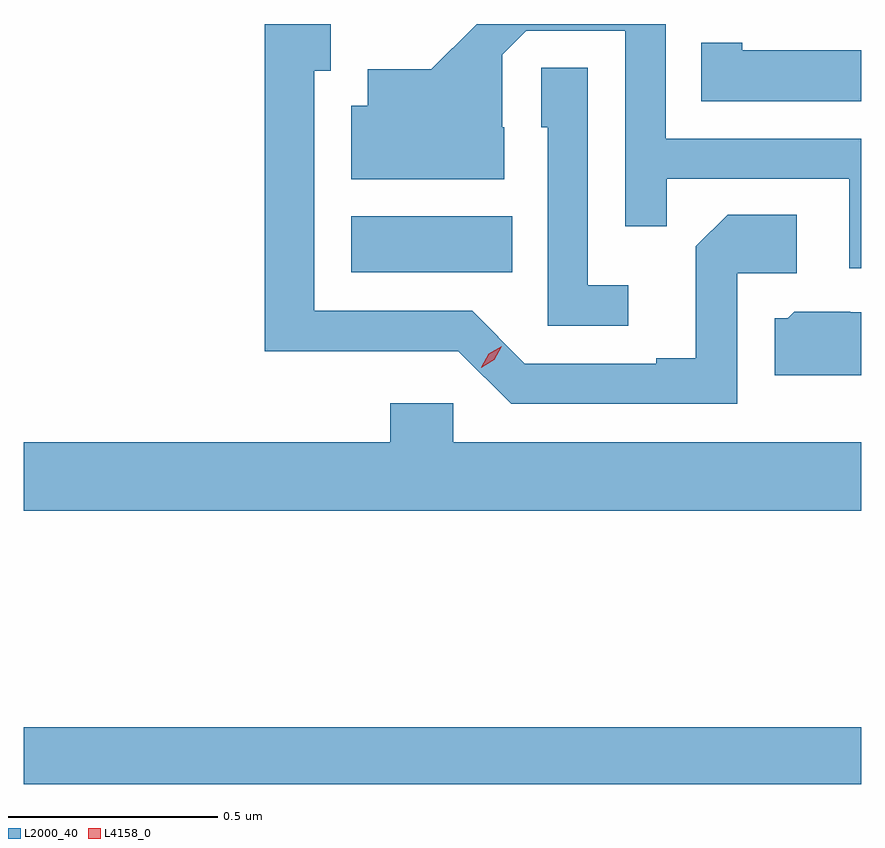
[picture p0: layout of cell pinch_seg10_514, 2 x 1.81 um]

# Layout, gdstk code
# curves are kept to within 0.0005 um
import gdstk
lib = gdstk.Library(unit=1e-6, precision=1e-09)
def R(c, l, rs):  # rectangles x0, y0, x1, y1
    for r in rs: c.add(gdstk.rectangle(r[:2], r[2:], *l))
def P(c, l, *ps):  # polygons
    for p in ps: c.add(gdstk.Polygon(p, *l))
L2000_40 = (2000, 40)
L4158_0 = (4158, 0)

pinch_seg10_514 = lib.new_cell('pinch_seg10_514')
R(pinch_seg10_514, L2000_40, [(279.78,1300.996,281.78,1301.132), (280.562,1302.218,280.946,1302.352)])
P(pinch_seg10_514, L2000_40, [(281.78,1302.537),(281.313,1302.537),(281.313,1302.811),(280.862,1302.811),(280.753,1302.703),(280.601,1302.703),(280.601,1302.616),(280.562,1302.616),(280.562,1302.44),(280.927,1302.44),(280.927,1302.564),(280.923,1302.564),(280.923,1302.738),(280.98,1302.795),(281.217,1302.795),(281.217,1302.328),(281.315,1302.328),(281.315,1302.441),(281.751,1302.441),(281.751,1302.228),(281.78,1302.228)],
  [(281.484,1302.216),(281.626,1302.216),(281.626,1302.356),(281.461,1302.356),(281.385,1302.28),(281.385,1302.013),(281.291,1302.013),(281.291,1302),(280.977,1302),(280.851,1302.126),(280.474,1302.126),(280.474,1302.699),(280.513,1302.699),(280.513,1302.811),(280.356,1302.811),(280.356,1302.029),(280.596,1302.029),(280.596,1302.03),(280.818,1302.03),(280.944,1301.904),(281.484,1301.904)],
  [(281.78,1302.748),(281.496,1302.748),(281.496,1302.766),(281.398,1302.766),(281.398,1302.626),(281.78,1302.626)],
  [(281.224,1302.187),(281.127,1302.187),(281.127,1302.707),(281.016,1302.707),(281.016,1302.564),(281.031,1302.564),(281.031,1302.09),(281.224,1302.09)],
  [(281.78,1302.123),(281.754,1302.123),(281.754,1302.124),(281.62,1302.124),(281.604,1302.108),(281.573,1302.108),(281.573,1301.972),(281.78,1301.972)],
  [(281.78,1301.812),(280.806,1301.812),(280.806,1301.905),(280.655,1301.905),(280.655,1301.812),(279.78,1301.812),(279.78,1301.648),(281.78,1301.648)])
P(pinch_seg10_514, L4158_0, [(280.872,1301.99),(280.872,1301.991),(280.89,1302.023),(280.922,1302.042),(280.922,1302.042),(280.922,1302.042),(280.904,1302.009),(280.872,1301.99)])

lib.write_gds('pinch_seg10_514.gds')
